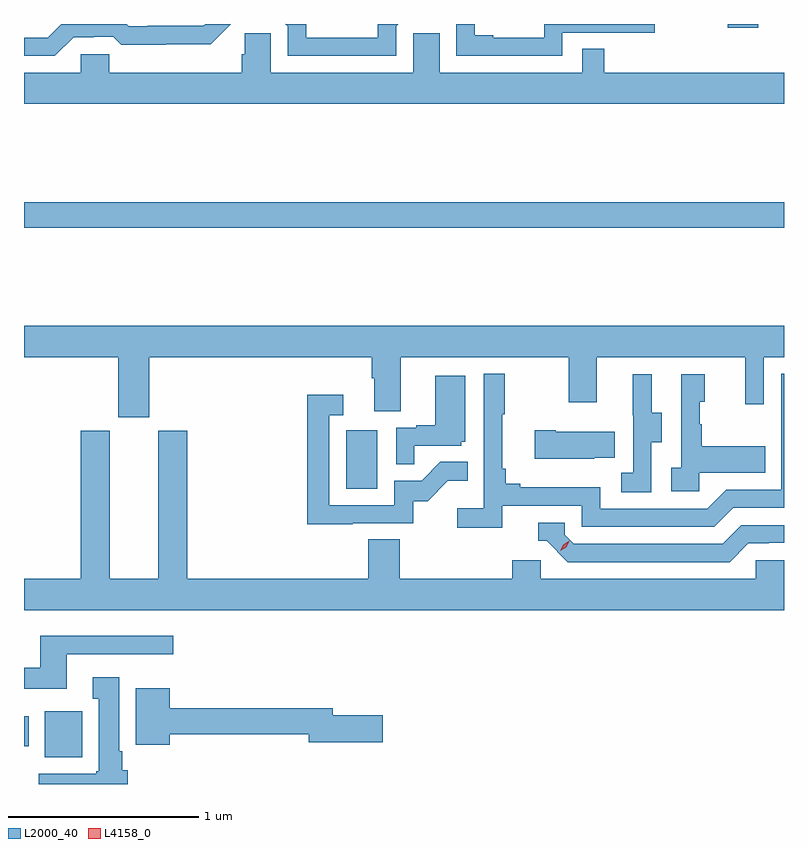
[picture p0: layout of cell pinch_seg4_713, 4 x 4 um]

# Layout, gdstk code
import gdstk
lib = gdstk.Library(unit=1e-6, precision=1e-09)
def R(c, l, rs):  # rectangles x0, y0, x1, y1
    for r in rs: c.add(gdstk.rectangle(r[:2], r[2:], *l))
def P(c, l, *ps):  # polygons
    for p in ps: c.add(gdstk.Polygon(p, *l))
L2000_40 = (2000, 40)
L4158_0 = (4158, 0)

pinch_seg4_713 = lib.new_cell('pinch_seg4_713')
R(pinch_seg4_713, L2000_40, [(849.269,817.358,849.466,817.6), (849.16,817.417,849.184,817.573), (850.856,818.772,851.02,819.079), (849.16,820.144,853.16,820.28), (852.863,821.196,853.024,821.217)])
P(pinch_seg4_713, L2000_40, [(851.994,821.172),(852.481,821.172),(852.481,821.217),(851.898,821.217),(851.898,821.145),(851.629,821.145),(851.629,821.158),(851.533,821.158),(851.533,821.217),(851.436,821.217),(851.436,821.049),(851.994,821.049)],
  [(851.118,821.205),(851.13,821.217),(851.022,821.217),(851.022,821.145),(850.645,821.145),(850.645,821.217),(850.536,821.217),(850.548,821.205),(850.548,821.049),(851.118,821.049)],
  [(849.421,821.148),(849.528,821.148),(849.528,821.151),(849.631,821.151),(849.673,821.109),(849.906,821.109),(849.906,821.111),(850.142,821.111),(850.248,821.217),(850.113,821.217),(850.104,821.208),(849.811,821.208),(849.811,821.205),(849.712,821.205),(849.7,821.217),(849.357,821.217),(849.285,821.145),(849.16,821.145),(849.16,821.049),(849.322,821.049)],
  [(852.099,821.087),(852.099,820.96),(851.347,820.96),(851.347,821.168),(851.208,821.168),(851.208,820.96),(850.458,820.96),(850.458,821.168),(850.321,821.168),(850.321,821.058),(850.307,821.058),(850.307,820.96),(849.609,820.96),(849.609,821.058),(849.459,821.058),(849.459,820.96),(849.16,820.96),(849.16,820.796),(853.16,820.796),(853.16,820.96),(852.215,820.96),(852.215,821.087)],
  [(849.82,819.464),(850.991,819.464),(850.991,819.352),(851.003,819.352),(851.003,819.178),(851.143,819.178),(851.143,819.464),(852.028,819.464),(852.028,819.225),(852.175,819.225),(852.175,819.464),(852.956,819.464),(852.956,819.216),(853.053,819.216),(853.053,819.464),(853.16,819.464),(853.16,819.628),(849.16,819.628),(849.16,819.464),(849.656,819.464),(849.656,819.147),(849.82,819.147)],
  [(851.678,818.682),(852.096,818.682),(852.096,818.571),(852.793,818.571),(852.892,818.67),(853.16,818.67),(853.16,819.375),(853.146,819.375),(853.146,818.766),(852.855,818.766),(852.756,818.667),(852.192,818.667),(852.192,818.779),(851.773,818.779),(851.773,818.798),(851.696,818.798),(851.696,818.875),(851.677,818.875),(851.677,819.163),(851.689,819.163),(851.689,819.376),(851.58,819.376),(851.58,818.668),(851.439,818.668),(851.439,818.566),(851.678,818.566)],
  [(852.714,818.855),(853.061,818.855),(853.061,818.995),(852.727,818.995),(852.727,819.11),(852.717,819.11),(852.717,819.228),(852.742,819.228),(852.742,819.373),(852.618,819.373),(852.618,818.882),(852.567,818.882),(852.567,818.757),(852.714,818.757)],
  [(852.462,819.016),(852.517,819.016),(852.517,819.171),(852.463,819.171),(852.463,819.373),(852.365,819.373),(852.365,819.159),(852.366,819.159),(852.366,818.855),(852.303,818.855),(852.303,818.752),(852.462,818.752)],
  [(851.213,818.997),(851.46,818.997),(851.46,819.018),(851.482,819.018),(851.482,819.367),(851.324,819.367),(851.324,819.106),(851.225,819.106),(851.225,819.093),(851.118,819.093),(851.118,818.899),(851.213,818.899)],
  [(850.889,818.589),(851.208,818.589),(851.208,818.706),(851.284,818.706),(851.391,818.813),(851.495,818.813),(851.495,818.912),(851.351,818.912),(851.253,818.814),(851.109,818.814),(851.109,818.685),(850.767,818.685),(850.767,819.159),(850.84,819.159),(850.84,819.265),(850.651,819.265),(850.651,818.584),(850.889,818.584)],
  [(852.161,818.933),(852.269,818.933),(852.269,819.07),(851.959,819.07),(851.959,819.078),(851.847,819.078),(851.847,818.93),(852.161,818.93)],
  [(853.16,818.394),(853.011,818.394),(853.011,818.296),(851.88,818.296),(851.88,818.394),(851.729,818.394),(851.729,818.296),(851.138,818.296),(851.138,818.504),(850.973,818.504),(850.973,818.296),(850.019,818.296),(850.019,819.075),(849.866,819.075),(849.866,818.296),(849.61,818.296),(849.61,819.075),(849.458,819.075),(849.458,818.296),(849.16,818.296),(849.16,818.132),(853.16,818.132)],
  [(852.973,818.484),(853.08,818.484),(853.08,818.487),(853.16,818.487),(853.16,818.58),(852.936,818.58),(852.837,818.481),(852.054,818.481),(852.006,818.529),(852.006,818.592),(851.867,818.592),(851.867,818.496),(851.91,818.496),(852.021,818.385),(852.874,818.385)],
  [(849.385,817.899),(849.946,817.899),(849.946,817.996),(849.245,817.996),(849.245,817.828),(849.16,817.828),(849.16,817.718),(849.385,817.718)],
  [(849.706,817.29),(849.676,817.29),(849.676,817.39),(849.661,817.39),(849.661,817.78),(849.521,817.78),(849.521,817.667),(849.554,817.667),(849.554,817.284),(849.541,817.284),(849.541,817.27),(849.237,817.27),(849.237,817.217),(849.706,817.217)],
  [(849.928,817.48),(850.658,817.48),(850.658,817.438),(851.047,817.438),(851.047,817.58),(850.786,817.58),(850.786,817.616),(849.928,817.616),(849.928,817.72),(849.749,817.72),(849.749,817.424),(849.928,817.424)])
P(pinch_seg4_713, L4158_0, [(851.982,818.444),(851.982,818.444),(851.998,818.476),(852.029,818.496),(852.029,818.496),(852.029,818.496),(852.013,818.463),(851.982,818.444)])

lib.write_gds('pinch_seg4_713.gds')
